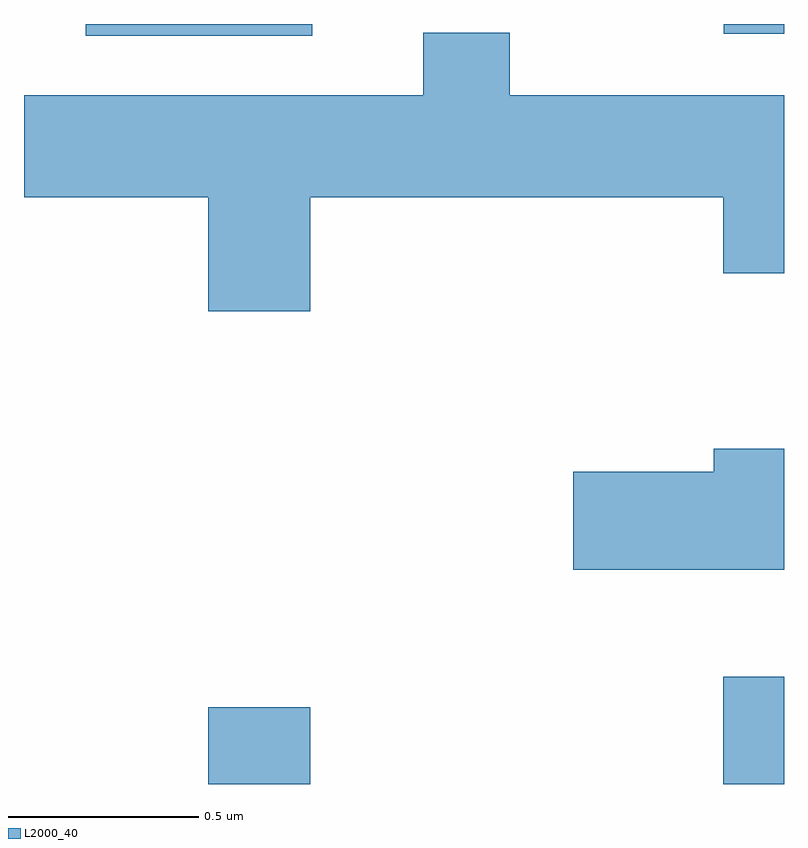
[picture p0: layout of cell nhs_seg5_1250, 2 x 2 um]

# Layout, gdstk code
import gdstk
lib = gdstk.Library(unit=1e-6, precision=1e-09)
def R(c, l, rs):  # rectangles x0, y0, x1, y1
    for r in rs: c.add(gdstk.rectangle(r[:2], r[2:], *l))
def P(c, l, *ps):  # polygons
    for p in ps: c.add(gdstk.Polygon(p, *l))
L2000_40 = (2000, 40)

nhs_seg5_1250 = lib.new_cell('nhs_seg5_1250')
R(nhs_seg5_1250, L2000_40, [(195.096,1413.072,195.364,1413.274), (196.451,1413.072,196.611,1413.354), (194.773,1415.041,195.369,1415.072), (196.453,1415.046,196.611,1415.072)])
P(nhs_seg5_1250, L2000_40, [(195.364,1414.616),(196.451,1414.616),(196.451,1414.416),(196.611,1414.416),(196.611,1414.884),(195.889,1414.884),(195.889,1415.049),(195.661,1415.049),(195.661,1414.884),(194.611,1414.884),(194.611,1414.616),(195.096,1414.616),(195.096,1414.316),(195.364,1414.316)],
  [(196.611,1413.954),(196.426,1413.954),(196.426,1413.894),(196.056,1413.894),(196.056,1413.636),(196.611,1413.636)])

lib.write_gds('nhs_seg5_1250.gds')
